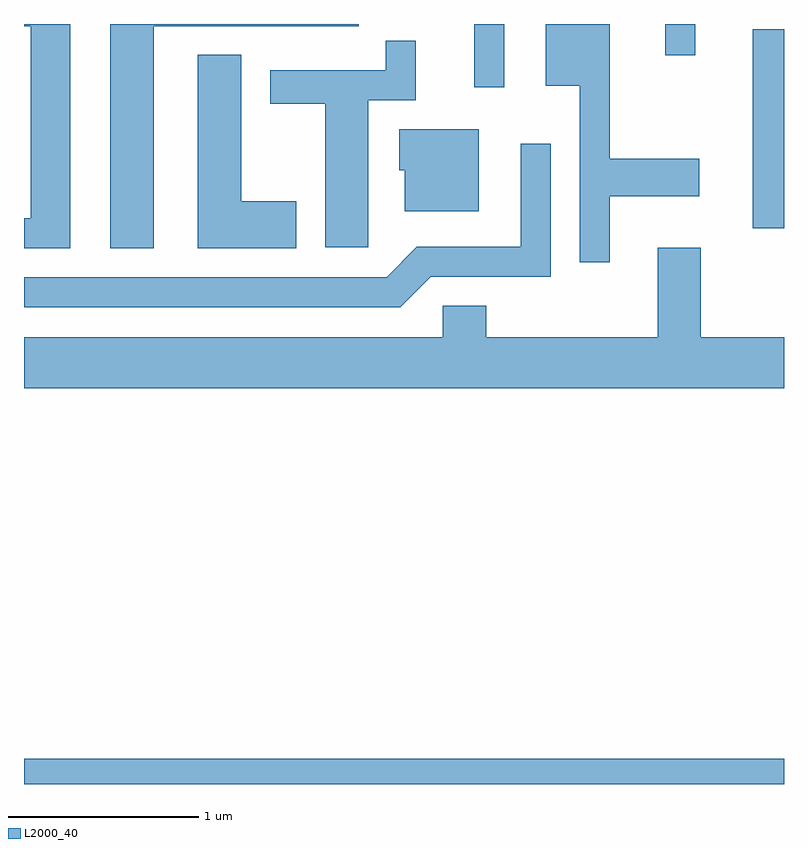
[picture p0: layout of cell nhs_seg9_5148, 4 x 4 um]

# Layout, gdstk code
import gdstk
lib = gdstk.Library(unit=1e-6, precision=1e-09)
def R(c, l, rs):  # rectangles x0, y0, x1, y1
    for r in rs: c.add(gdstk.rectangle(r[:2], r[2:], *l))
def P(c, l, *ps):  # polygons
    for p in ps: c.add(gdstk.Polygon(p, *l))
L2000_40 = (2000, 40)

nhs_seg9_5148 = lib.new_cell('nhs_seg9_5148')
R(nhs_seg9_5148, L2000_40, [(337.611,1956.432,341.611,1956.564), (341.446,1959.356,341.611,1960.404), (339.981,1960.098,340.139,1960.432), (340.986,1960.268,341.144,1960.432)])
P(nhs_seg9_5148, L2000_40, [(337.854,1960.432),(337.611,1960.432),(337.611,1960.421),(337.646,1960.421),(337.646,1959.409),(337.611,1959.409),(337.611,1959.251),(337.854,1959.251)],
  [(338.294,1960.421),(339.373,1960.421),(339.373,1960.432),(338.066,1960.432),(338.066,1959.251),(338.294,1959.251)],
  [(340.694,1959.526),(341.164,1959.526),(341.164,1959.724),(340.694,1959.724),(340.694,1960.432),(340.356,1960.432),(340.356,1960.106),(340.536,1960.106),(340.536,1959.178),(340.694,1959.178)],
  [(339.424,1960.031),(339.674,1960.031),(339.674,1960.343),(339.516,1960.343),(339.516,1960.189),(338.906,1960.189),(338.906,1960.011),(339.196,1960.011),(339.196,1959.256),(339.424,1959.256)],
  [(339.044,1959.499),(338.754,1959.499),(338.754,1960.269),(338.526,1960.269),(338.526,1959.251),(339.044,1959.251)],
  [(340.004,1959.879),(339.586,1959.879),(339.586,1959.661),(339.616,1959.661),(339.616,1959.446),(340.004,1959.446)],
  [(339.752,1959.101),(340.384,1959.101),(340.384,1959.803),(340.226,1959.803),(340.226,1959.259),(339.679,1959.259),(339.519,1959.099),(337.611,1959.099),(337.611,1958.941),(339.592,1958.941)],
  [(341.611,1958.784),(341.174,1958.784),(341.174,1959.254),(340.946,1959.254),(340.946,1958.784),(340.044,1958.784),(340.044,1958.949),(339.816,1958.949),(339.816,1958.784),(337.611,1958.784),(337.611,1958.516),(341.611,1958.516)])

lib.write_gds('nhs_seg9_5148.gds')
